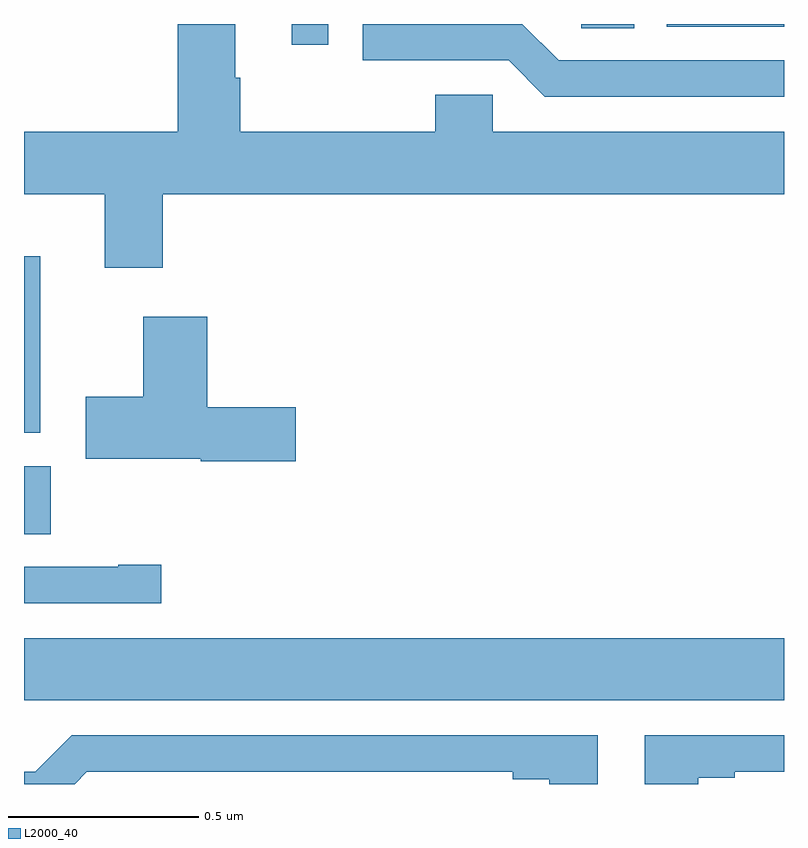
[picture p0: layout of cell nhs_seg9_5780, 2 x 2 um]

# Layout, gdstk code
import gdstk
lib = gdstk.Library(unit=1e-6, precision=1e-09)
def R(c, l, rs):  # rectangles x0, y0, x1, y1
    for r in rs: c.add(gdstk.rectangle(r[:2], r[2:], *l))
def P(c, l, *ps):  # polygons
    for p in ps: c.add(gdstk.Polygon(p, *l))
L2000_40 = (2000, 40)

nhs_seg9_5780 = lib.new_cell('nhs_seg9_5780')
R(nhs_seg9_5780, L2000_40, [(183,1229.72,185,1229.884), (183,1230.157,183.071,1230.336), (183,1230.425,183.043,1230.889), (183.704,1231.446,183.801,1231.5), (184.467,1231.489,184.606,1231.5), (184.691,1231.493,185,1231.5)])
P(nhs_seg9_5780, L2000_40, [(183.365,1231.052),(185,1231.052),(185,1231.216),(184.233,1231.216),(184.233,1231.314),(184.082,1231.314),(184.082,1231.216),(183.569,1231.216),(183.569,1231.358),(183.556,1231.358),(183.556,1231.5),(183.404,1231.5),(183.404,1231.216),(183,1231.216),(183,1231.052),(183.212,1231.052),(183.212,1230.858),(183.365,1230.858)],
  [(185,1231.404),(184.407,1231.404),(184.311,1231.5),(183.891,1231.5),(183.891,1231.404),(184.275,1231.404),(184.371,1231.308),(185,1231.308)],
  [(183.715,1230.491),(183.482,1230.491),(183.482,1230.73),(183.314,1230.73),(183.314,1230.519),(183.162,1230.519),(183.162,1230.356),(183.465,1230.356),(183.465,1230.349),(183.715,1230.349)],
  [(183.361,1230.077),(183.248,1230.077),(183.248,1230.072),(183,1230.072),(183,1229.976),(183.361,1229.976)],
  [(183.165,1229.532),(184.286,1229.532),(184.286,1229.512),(184.382,1229.512),(184.382,1229.5),(184.51,1229.5),(184.51,1229.628),(183.125,1229.628),(183.029,1229.532),(183,1229.532),(183,1229.5),(183.133,1229.5)],
  [(184.774,1229.517),(184.87,1229.517),(184.87,1229.532),(185,1229.532),(185,1229.628),(184.634,1229.628),(184.634,1229.5),(184.774,1229.5)])

lib.write_gds('nhs_seg9_5780.gds')
